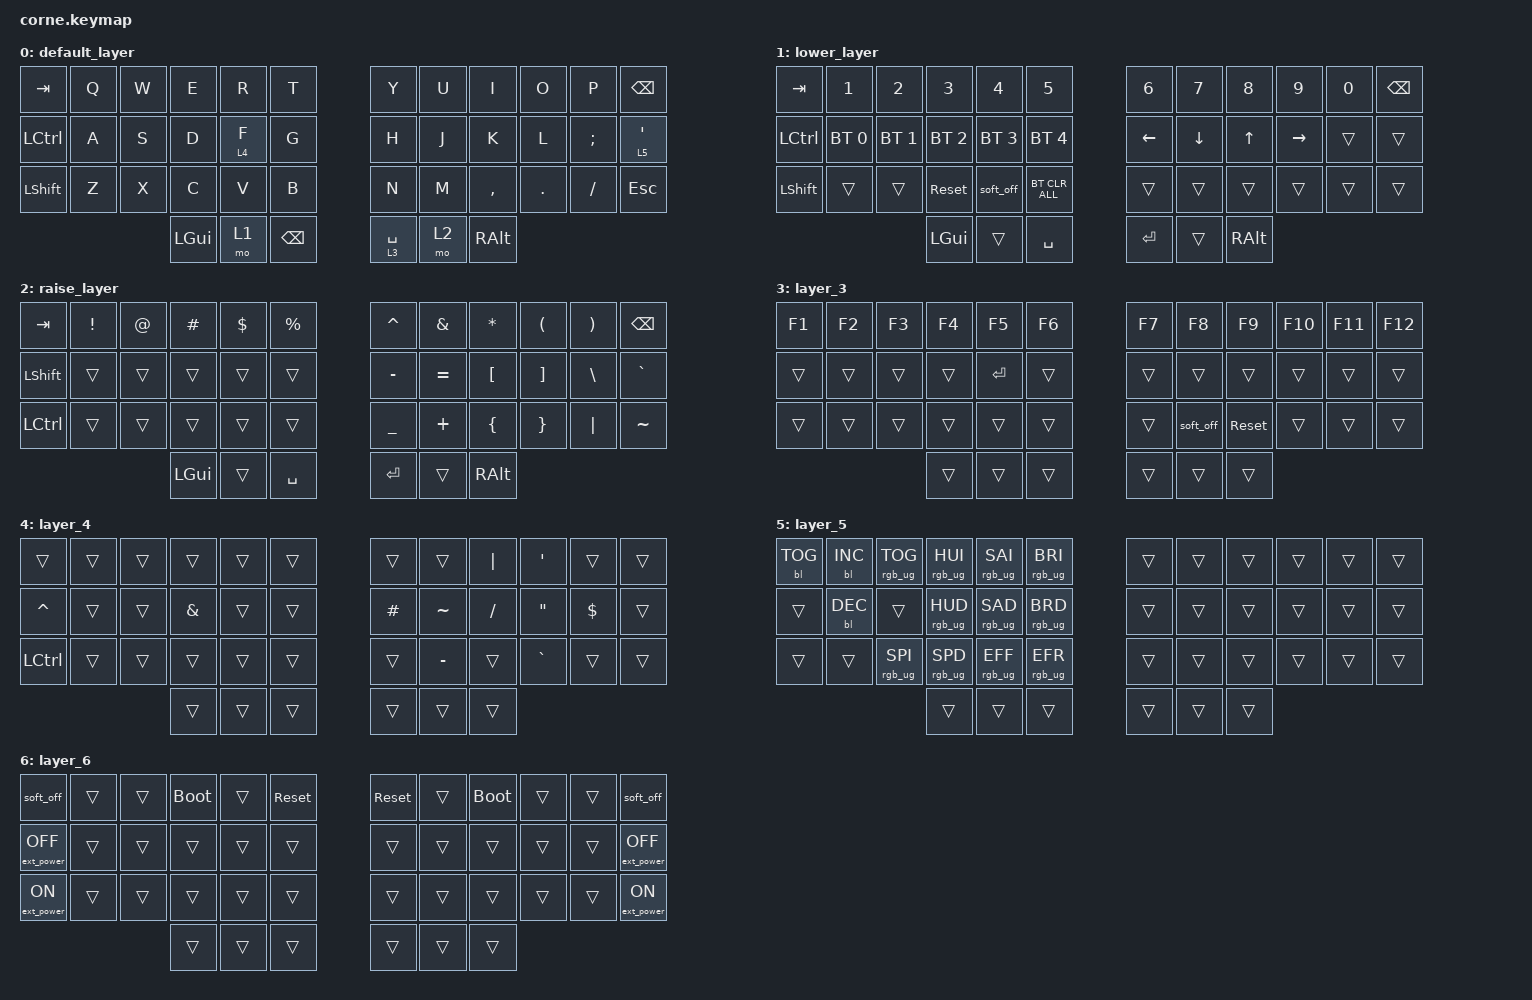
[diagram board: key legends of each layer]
/*
 * Copyright (c) 2020 The ZMK Contributors
 *
 * SPDX-License-Identifier: MIT
 */

#include <behaviors.dtsi>
#include <dt-bindings/zmk/backlight.h>
#include <dt-bindings/zmk/bt.h>
#include <dt-bindings/zmk/ext_power.h>
#include <dt-bindings/zmk/keys.h>
#include <dt-bindings/zmk/rgb.h>

&led_strip { chain-length = <27>; };

/ {
    keymap {
        compatible = "zmk,keymap";

        default_layer {
            // -----------------------------------------------------------------------------------------
            // |  TAB |  Q  |  W  |  E  |  R  |  T  |   |  Y  |  U   |  I  |  O  |  P  | BKSP |
            // | CTRL |  A  |  S  |  D  |  F  |  G  |   |  H  |  J   |  K  |  L  |  ;  |  '   |
            // | SHFT |  Z  |  X  |  C  |  V  |  B  |   |  N  |  M   |  ,  |  .  |  /  | ESC  |
            //                    | GUI | LWR | SPC |   | ENT | RSE  | ALT |

            bindings = <
&kp TAB         &kp Q  &kp W  &kp E     &kp R    &kp T            &kp Y        &kp U  &kp I      &kp O    &kp P     &kp BSPC
&kp LCTRL       &kp A  &kp S  &kp D     &lt 4 F  &kp G            &kp H        &kp J  &kp K      &kp L    &kp SEMI  &lt 5 SQT
&kp LEFT_SHIFT  &kp Z  &kp X  &kp C     &kp V    &kp B            &kp N        &kp M  &kp COMMA  &kp DOT  &kp FSLH  &kp ESC
                              &kp LGUI  &mo 1    &kp BACKSPACE    &lt 3 SPACE  &mo 2  &kp RALT
            >;
        };

        lower_layer {
            // -----------------------------------------------------------------------------------------
            // |  TAB |  1  |  2  |  3  |  4  |  5  |   |  6  |  7  |  8  |  9  |  0  | BKSP |
            // | BTCLR| BT1 | BT2 | BT3 | BT4 | BT5 |   | LFT | DWN |  UP | RGT |     |      |
            // | SHFT |     |     |     |     |     |   |     |     |     |     |     |      |
            //                    | GUI |     | SPC |   | ENT |     | ALT |

            bindings = <
&kp TAB           &kp N1        &kp N2        &kp N3        &kp N4        &kp N5            &kp N6    &kp N7    &kp N8    &kp N9     &kp N0  &kp BSPC
&kp LEFT_CONTROL  &bt BT_SEL 0  &bt BT_SEL 1  &bt BT_SEL 2  &bt BT_SEL 3  &bt BT_SEL 4      &kp LEFT  &kp DOWN  &kp UP    &kp RIGHT  &trans  &trans
&kp LEFT_SHIFT    &trans        &trans        &sys_reset    &soft_off     &bt BT_CLR_ALL    &trans    &trans    &trans    &trans     &trans  &trans
                                              &kp LGUI      &trans        &kp SPACE         &kp RET   &trans    &kp RALT
            >;
        };

        raise_layer {
            // -----------------------------------------------------------------------------------------
            // |  TAB |  !  |  @  |  #  |  $  |  %  |   |  ^  |  &  |  *  |  (  |  )  | BKSP |
            // | CTRL |     |     |     |     |     |   |  -  |  =  |  [  |  ]  |  \  |  `   |
            // | SHFT |     |     |     |     |     |   |  _  |  +  |  {  |  }  | "|" |  ~   |
            //                    | GUI |     | SPC |   | ENT |     | ALT |

            bindings = <
&kp TAB           &kp EXCL  &kp AT  &kp HASH  &kp DLLR  &kp PRCNT    &kp CARET  &kp AMPS   &kp ASTRK  &kp LPAR  &kp RPAR  &kp BSPC
&kp LEFT_SHIFT    &trans    &trans  &trans    &trans    &trans       &kp MINUS  &kp EQUAL  &kp LBKT   &kp RBKT  &kp BSLH  &kp GRAVE
&kp LEFT_CONTROL  &trans    &trans  &trans    &trans    &trans       &kp UNDER  &kp PLUS   &kp LBRC   &kp RBRC  &kp PIPE  &kp TILDE
                                    &kp LGUI  &trans    &kp SPACE    &kp RET    &trans     &kp RALT
            >;
        };

        layer_3 {
            bindings = <
&kp F1  &kp F2  &kp F3  &kp F4  &kp F5      &kp F6    &kp F7  &kp F8     &kp F9      &kp F10  &kp F11  &kp F12
&trans  &trans  &trans  &trans  &kp RETURN  &trans    &trans  &trans     &trans      &trans   &trans   &trans
&trans  &trans  &trans  &trans  &trans      &trans    &trans  &soft_off  &sys_reset  &trans   &trans   &trans
                        &trans  &trans      &trans    &trans  &trans     &trans
            >;
        };

        layer_4 {
            bindings = <
&trans            &trans  &trans  &trans         &trans  &trans    &trans    &trans     &kp PIPE   &kp SINGLE_QUOTE   &trans      &trans
&kp CARET         &trans  &trans  &kp AMPERSAND  &trans  &trans    &kp HASH  &kp TILDE  &kp SLASH  &kp DOUBLE_QUOTES  &kp DOLLAR  &trans
&kp LEFT_CONTROL  &trans  &trans  &trans         &trans  &trans    &trans    &kp MINUS  &trans     &kp GRAVE          &trans      &trans
                                  &trans         &trans  &trans    &trans    &trans     &trans
            >;
        };

        layer_5 {
            bindings = <
&bl BL_TOG  &bl BL_INC  &rgb_ug RGB_TOG  &rgb_ug RGB_HUI  &rgb_ug RGB_SAI  &rgb_ug RGB_BRI    &trans  &trans  &trans  &trans  &trans  &trans
&trans      &bl BL_DEC  &trans           &rgb_ug RGB_HUD  &rgb_ug RGB_SAD  &rgb_ug RGB_BRD    &trans  &trans  &trans  &trans  &trans  &trans
&trans      &trans      &rgb_ug RGB_SPI  &rgb_ug RGB_SPD  &rgb_ug RGB_EFF  &rgb_ug RGB_EFR    &trans  &trans  &trans  &trans  &trans  &trans
                                         &trans           &trans           &trans             &trans  &trans  &trans
            >;
        };

        layer_6 {
            bindings = <
&soft_off          &trans  &trans  &bootloader  &trans  &sys_reset    &sys_reset  &trans  &bootloader  &trans  &trans  &soft_off
&ext_power EP_OFF  &trans  &trans  &trans       &trans  &trans        &trans      &trans  &trans       &trans  &trans  &ext_power EP_OFF
&ext_power EP_ON   &trans  &trans  &trans       &trans  &trans        &trans      &trans  &trans       &trans  &trans  &ext_power EP_ON
                                   &trans       &trans  &trans        &trans      &trans  &trans
            >;
        };
    };

    conditional_layers {
        compatible = "zmk,conditional-layers";

        CORNECONTROL {
            if-layers = <1 2>;
            then-layer = <6>;
        };
    };
};
